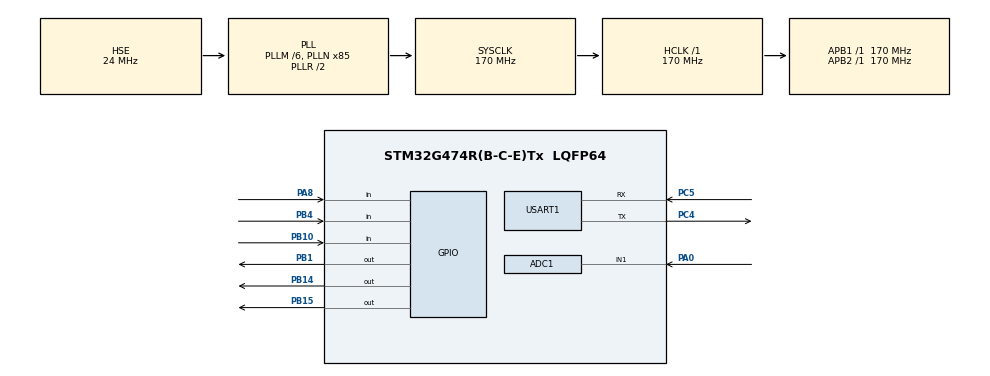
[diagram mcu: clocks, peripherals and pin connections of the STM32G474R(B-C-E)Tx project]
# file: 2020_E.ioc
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ADC1.Channel-0\#ChannelRegularConversion=ADC_CHANNEL_1
ADC1.ContinuousConvMode=DISABLE
ADC1.ExternalTrigConv=ADC_EXTERNALTRIG_T3_TRGO
ADC1.NbrOfConversionFlag=1
ADC1.OffsetNumber-0\#ChannelRegularConversion=ADC_OFFSET_NONE
ADC1.Rank-0\#ChannelRegularConversion=1
ADC1.SamplingTime-0\#ChannelRegularConversion=ADC_SAMPLETIME_2CYCLES_5
ADC1.master=1
Dma.ADC1.0.Direction=DMA_PERIPH_TO_MEMORY
Dma.ADC1.0.EventEnable=DISABLE
Dma.ADC1.0.Instance=DMA1_Channel1
Dma.ADC1.0.MemDataAlignment=DMA_MDATAALIGN_HALFWORD
Dma.ADC1.0.MemInc=DMA_MINC_ENABLE
Dma.ADC1.0.Mode=DMA_NORMAL
Dma.ADC1.0.PeriphDataAlignment=DMA_PDATAALIGN_HALFWORD
Dma.ADC1.0.PeriphInc=DMA_PINC_DISABLE
Dma.ADC1.0.Polarity=HAL_DMAMUX_REQ_GEN_RISING
Dma.ADC1.0.Priority=DMA_PRIORITY_LOW
Dma.ADC1.0.RequestNumber=1
Dma.ADC1.0.SignalID=NONE
Dma.ADC1.0.SyncEnable=DISABLE
Dma.ADC1.0.SyncPolarity=HAL_DMAMUX_SYNC_NO_EVENT
Dma.ADC1.0.SyncRequestNumber=1
Dma.ADC1.0.SyncSignalID=NONE
Dma.Request0=ADC1
Mcu.Family=STM32G4
Mcu.Name=STM32G474R(B-C-E)Tx
Mcu.Package=LQFP64
NVIC.DMA1_Channel1_IRQn=true\:0\:0\:false\:false\:true\:false\:true
NVIC.PriorityGroup=NVIC_PRIORITYGROUP_4
NVIC.TIM3_IRQn=true\:0\:0\:false\:false\:true\:true\:true
NVIC.USART1_IRQn=true\:0\:0\:false\:false\:true\:true\:true
PA0.Mode=IN1-Single-Ended
PA0.Signal=ADC1_IN1
PA13.Mode=Serial_Wire
PA13.Signal=SYS_JTMS-SWDIO
PA14.Mode=Serial_Wire
PA14.Signal=SYS_JTCK-SWCLK
PA8.GPIO_PuPd=GPIO_PULLDOWN
PA8.Signal=GPIO_Input
PB1.GPIO_ModeDefaultOutputPP=GPIO_MODE_OUTPUT_PP
PB1.GPIO_PuPd=GPIO_NOPULL
PB1.PinState=GPIO_PIN_SET
PB1.Signal=GPIO_Output
PB10.GPIO_PuPd=GPIO_PULLDOWN
PB10.Signal=GPIO_Input
PB14.PinState=GPIO_PIN_SET
PB14.Signal=GPIO_Output
PB15.PinState=GPIO_PIN_SET
PB15.Signal=GPIO_Output
PB4.GPIO_PuPd=GPIO_PULLDOWN
PB4.Signal=GPIO_Input
PC14-OSC32_IN.Mode=LSE-External-Oscillator
PC14-OSC32_IN.Signal=RCC_OSC32_IN
PC15-OSC32_OUT.Mode=LSE-External-Oscillator
PC15-OSC32_OUT.Signal=RCC_OSC32_OUT
PC4.Mode=Asynchronous
PC4.Signal=USART1_TX
PC5.Mode=Asynchronous
PC5.Signal=USART1_RX
PF0-OSC_IN.Mode=HSE-External-Oscillator
PF0-OSC_IN.Signal=RCC_OSC_IN
PF1-OSC_OUT.Mode=HSE-External-Oscillator
PF1-OSC_OUT.Signal=RCC_OSC_OUT
ProjectManager.HeapSize=0x200
ProjectManager.StackSize=0x400
ProjectManager.TargetToolchain=MDK-ARM V5.32
RCC.ADC12Freq_Value=170000000
RCC.ADC345Freq_Value=170000000
RCC.AHBFreq_Value=170000000
RCC.APB1Freq_Value=170000000
RCC.APB1TimFreq_Value=170000000
RCC.APB2Freq_Value=170000000
RCC.APB2TimFreq_Value=170000000
RCC.CortexFreq_Value=170000000
RCC.EXTERNAL_CLOCK_VALUE=12288000
RCC.HCLKFreq_Value=170000000
RCC.HSE_VALUE=24000000
RCC.HSI48_VALUE=48000000
RCC.HSI_VALUE=16000000
RCC.PLLM=RCC_PLLM_DIV6
RCC.PLLN=85
RCC.PLLSourceVirtual=RCC_PLLSOURCE_HSE
RCC.SYSCLKFreq_VALUE=170000000
RCC.SYSCLKSource=RCC_SYSCLKSOURCE_PLLCLK
RCC.USBFreq_Value=170000000
RCC.VCOOutputFreq_Value=340000000
TIM3.AutoReloadPreload=TIM_AUTORELOAD_PRELOAD_ENABLE
TIM3.PeriodNoDither=40
TIM3.Prescaler=170
TIM3.TIM_MasterOutputTrigger=TIM_TRGO_UPDATE
USART1.VirtualMode-Asynchronous=VM_ASYNC
VP_SYS_VS_DBSignals.Mode=DisableDeadBatterySignals
VP_TIM3_VS_ClockSourceINT.Mode=Internal
board=custom

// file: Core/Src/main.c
/* USER CODE BEGIN Header */
/**
  ******************************************************************************
  * @file           : main.c
  * @brief          : Main program body
  ******************************************************************************
  * @attention
  *
  * Copyright (c) 2022 STMicroelectronics.
  * All rights reserved.
  *
  * This software is licensed under terms that can be found in the LICENSE file
  * in the root directory of this software component.
  * If no LICENSE file comes with this software, it is provided AS-IS.
  *
  ******************************************************************************
  */
/* USER CODE END Header */
#include "main.h"
#include "adc.h"
#include "dma.h"
#include "tim.h"
#include "usart.h"
#include "gpio.h"

/* USER CODE BEGIN Includes */
#include "arm_math.h"	// 包含一个arm_math.h
#include "arm_const_structs.h"

#include "stdio.h"
#define MAX_RECV_LEN 128
uint8_t rx1_buff[MAX_RECV_LEN]={0};
uint8_t *pBuf=rx1_buff;
uint8_t line_flag=0;

#define FFT_LENGTH 1024

__IO uint8_t AdcConvEnd = 0;
uint16_t adcBuff[FFT_LENGTH];

float fft_inputbuf[FFT_LENGTH * 2];
float fft_outputbuf[FFT_LENGTH];

#define set0 HAL_GPIO_WritePin(GPIOB, GPIO_PIN_1,0)
#define set1 HAL_GPIO_WritePin(GPIOB, GPIO_PIN_15,0)
#define set2 HAL_GPIO_WritePin(GPIOB, GPIO_PIN_14,0)

#define reset0 HAL_GPIO_WritePin(GPIOB, GPIO_PIN_1,1)
#define reset1 HAL_GPIO_WritePin(GPIOB, GPIO_PIN_15,1)
#define reset2 HAL_GPIO_WritePin(GPIOB, GPIO_PIN_14,1)

#define d0 HAL_GPIO_ReadPin(GPIOA, GPIO_PIN_8)
#define d1 HAL_GPIO_ReadPin(GPIOB, GPIO_PIN_10)
#define d2 HAL_GPIO_ReadPin(GPIOB, GPIO_PIN_4)
/* USER CODE END Includes */

/* USER CODE BEGIN PTD */
float data=0,thd,u1,u2,u3,u4,u5,u6,u7,u8,u9,u10,u11;
int j,check_enable=0,control_enable=0;
/* USER CODE END PTD */

/* USER CODE BEGIN PM */
void modulus_value(void);
void control(void);
/* USER CODE END PM */

void SystemClock_Config(void);

int main(void)
{

  /* MCU Configuration--------------------------------------------------------*/

  /* Reset of all peripherals, Initializes the Flash interface and the Systick. */
  HAL_Init();

  /* Configure the system clock */
  SystemClock_Config();

  /* Initialize all configured peripherals */
  MX_GPIO_Init();
  MX_DMA_Init();
  MX_ADC1_Init();
  MX_TIM3_Init();
  MX_USART1_UART_Init();
  /* USER CODE BEGIN 2 */
	HAL_UART_Receive_IT(&huart1,pBuf,1);
	HAL_TIM_Base_Start(&htim3);
  /* USER CODE END 2 */

  /* Infinite loop */
  /* USER CODE BEGIN WHILE */
				set0;
				set1;
				set2;
  while (1)
  {

		if(line_flag){
			//printf("%s",rx1_buff);

			line_flag=0;
			if(rx1_buff[0]=='s'){
			//printf("t0.txt=\"%d\"\xff\xff\xff",j++); //一次性发完命令和结束符
				check_enable=1;
			}
			if(rx1_buff[0]=='1'){
				reset0;
				reset1;
				reset2;
			}
			if(rx1_buff[0]=='2'){
				set0;
				reset1;
				reset2;
			}
			if(rx1_buff[0]=='3'){
				reset0;
				set1;
				reset2;
			}
			if(rx1_buff[0]=='4'){
				set0;
				set1;
				reset2;
			}
			if(rx1_buff[0]=='5'){
				set0;
				set1;
				reset2;
			}
			if(rx1_buff[0]=='0'){
				set0;
				set1;
				set2;
			}
		}

		control();

		if(check_enable){
		for (int i = 0; i < FFT_LENGTH; i++)
		{
				adcBuff[i]=0;
		}
		HAL_ADC_Start_DMA(&hadc1, (uint32_t *)adcBuff, FFT_LENGTH);

		HAL_Delay(100);
		while (!AdcConvEnd)       //等待转换完毕
			;

		for (int i = 0; i < FFT_LENGTH; i++)
		{
				fft_inputbuf[i * 2] = adcBuff[i] * 3.3 / 4096;//实部赋值，* 3.3 / 4096是为了将ADC采集到的值转换成实际电压
				fft_inputbuf[i * 2 + 1] = 0;//虚部赋值，固定为0.
		}

		arm_cfft_f32(&arm_cfft_sR_f32_len1024, fft_inputbuf, 0, 1);
		arm_cmplx_mag_f32(fft_inputbuf, fft_outputbuf, FFT_LENGTH);
		/*fft_outputbuf[0] /= 1;

		for (int i = 1; i < FFT_LENGTH; i++)//输出各次谐波幅值
		{
				fft_outputbuf[i] /= 1;
		}*/
		//printf("FFT Result:\r\n");

		/*for (int i = 0; i < FFT_LENGTH; i++)//输出各次谐波幅值
		{
			//printf("%d:\t%.2f\r\n", i, fft_outputbuf[i]);
		}*/
		HAL_ADC_Stop_DMA(&hadc1);
		 check_enable=0;
		//printf("page main\xff\xff\xff");
		modulus_value();

		}

    /* USER CODE END WHILE */

  }
}

void SystemClock_Config(void)
{
  RCC_OscInitTypeDef RCC_OscInitStruct = {0};
  RCC_ClkInitTypeDef RCC_ClkInitStruct = {0};

  /** Configure the main internal regulator output voltage
  */
  HAL_PWREx_ControlVoltageScaling(PWR_REGULATOR_VOLTAGE_SCALE1_BOOST);
  /** Initializes the RCC Oscillators according to the specified parameters
  * in the RCC_OscInitTypeDef structure.
  */
  RCC_OscInitStruct.OscillatorType = RCC_OSCILLATORTYPE_HSE;
  RCC_OscInitStruct.HSEState = RCC_HSE_ON;
  RCC_OscInitStruct.PLL.PLLState = RCC_PLL_ON;
  RCC_OscInitStruct.PLL.PLLSource = RCC_PLLSOURCE_HSE;
  RCC_OscInitStruct.PLL.PLLM = RCC_PLLM_DIV6;
  RCC_OscInitStruct.PLL.PLLN = 85;
  RCC_OscInitStruct.PLL.PLLP = RCC_PLLP_DIV2;
  RCC_OscInitStruct.PLL.PLLQ = RCC_PLLQ_DIV2;
  RCC_OscInitStruct.PLL.PLLR = RCC_PLLR_DIV2;
  if (HAL_RCC_OscConfig(&RCC_OscInitStruct) != HAL_OK)
  {
    Error_Handler();
  }
  /** Initializes the CPU, AHB and APB buses clocks
  */
  RCC_ClkInitStruct.ClockType = RCC_CLOCKTYPE_HCLK|RCC_CLOCKTYPE_SYSCLK
                              |RCC_CLOCKTYPE_PCLK1|RCC_CLOCKTYPE_PCLK2;
  RCC_ClkInitStruct.SYSCLKSource = RCC_SYSCLKSOURCE_PLLCLK;
  RCC_ClkInitStruct.AHBCLKDivider = RCC_SYSCLK_DIV1;
  RCC_ClkInitStruct.APB1CLKDivider = RCC_HCLK_DIV1;
  RCC_ClkInitStruct.APB2CLKDivider = RCC_HCLK_DIV1;

  if (HAL_RCC_ClockConfig(&RCC_ClkInitStruct, FLASH_LATENCY_4) != HAL_OK)
  {
    Error_Handler();
  }
}

/* USER CODE BEGIN 4 */
void HAL_UART_RxCpltCallback(UART_HandleTypeDef *UartHandle){
if(UartHandle->Instance==USART1){
++pBuf;
	if(pBuf==rx1_buff+MAX_RECV_LEN)
		pBuf=rx1_buff;
	else if(*(pBuf-1)==0x0a){
	line_flag=1;
		*pBuf='\0';
		pBuf=rx1_buff;
	}
	__HAL_UNLOCK(UartHandle);
	HAL_UART_Receive_IT(UartHandle,pBuf,1);

}
}

void modulus_value(void){
int max=0,s1,s2,s3,s4,s5,s6,s7,s8,s9,s10,s11;
	for(j=1;j<FFT_LENGTH/2;j++){
		if(fft_outputbuf[j]>max){
			max=fft_outputbuf[j];
			s1=j;
		}
	}
	max=0;
	for(j=s1*2-5;j<s1*2+5;j++){
		if(fft_outputbuf[j]>max){
			max=fft_outputbuf[j];
			s2=j;
		}
	}

	max=0;
		for(j=s1*3-5;j<s1*3+5;j++){
		if(fft_outputbuf[j]>max){
			max=fft_outputbuf[j];
			s3=j;
		}
	}
	max=0;
		for(j=s1*4-5;j<s1*4+5;j++){
		if(fft_outputbuf[j]>max){
			max=fft_outputbuf[j];
			s4=j;
		}
	}
	max=0;
		for(j=s1*5-5;j<s1*5+5;j++){
		if(fft_outputbuf[j]>max){
			max=fft_outputbuf[j];
			s5=j;
		}
	}
	max=0;
		for(j=s1*6-5;j<s1*6+5;j++){
		if(fft_outputbuf[j]>max){
			max=fft_outputbuf[j];
			s6=j;
		}
	}
	max=0;
		for(j=s1*7-5;j<s1*7+5;j++){
		if(fft_outputbuf[j]>max){
			max=fft_outputbuf[j];
			s7=j;
		}
	}
	max=0;
		for(j=s1*8-5;j<s1*8+5;j++){
		if(fft_outputbuf[j]>max){
			max=fft_outputbuf[j];
			s8=j;
		}
	}
	max=0;
		for(j=s1*9-5;j<s1*9+5;j++){
		if(fft_outputbuf[j]>max){
			max=fft_outputbuf[j];
			s9=j;
		}
	}
	max=0;
		for(j=s1*10-5;j<s1*10+5;j++){
		if(fft_outputbuf[j]>max){
			max=fft_outputbuf[j];
			s10=j;
		}
	}
	max=0;
		for(j=s1*11-5;j<s1*11+5;j++){
		if(fft_outputbuf[j]>max){
			max=fft_outputbuf[j];
			s11=j;
		}
	}
	u1=fft_outputbuf[s1];
	u2=fft_outputbuf[s2];
	u3=fft_outputbuf[s3];
	u4=fft_outputbuf[s4];
	u5=fft_outputbuf[s5];
	u6=fft_outputbuf[s6];
	u7=fft_outputbuf[s7];
	u8=fft_outputbuf[s8];
	u9=fft_outputbuf[s9];
	u10=fft_outputbuf[s10];
	u11=fft_outputbuf[s11];
//printf("u1=%f\r\nu2=%f\r\nu3=%f\r\nu4=%f\r\nu5=%f\r\nu6=%f\r\nu7=%f\r\nu8=%f\r\nu9=%f\r\nu10=%f\r\nu11=%f\r\n",u1,u2,u3,u4,u5,u6,u7,u8,u9,u10,u11);
thd=sqrt(u2*u2+u3*u3+u4*u4+u5*u5+u6*u6+u7*u7+u8*u8+u9*u9+u10*u10+u11*u11)/u1*100;
	//printf("THD=%.2f%%\r\n",thd);
	//printf("addt 2,0,1024\xff\xff\xff");
	fft_outputbuf[0]=0;
	for(j=0;j<FFT_LENGTH;j++){
		printf("add 2,0,%d\xff\xff\xff",(int)(fft_outputbuf[j]/u1*255));
	}
	printf("t1.txt=\"%.2f%%\"\xff\xff\xff",thd); //一次性发完命令和结束符
}

void control(void){
if(d0==0&&d1==0&&d2==0)
	control_enable=1;
else if(control_enable==1&&d0==1&&d1==0&&d2==0){
	check_enable=1;
	control_enable=0;
}
else if(control_enable==0&&d0==0&&d1==1&&d2==0){
	set0;
	set1;
	set2;
	control_enable=0;
}
else if(control_enable==1&&d0==1&&d1==1&&d2==0){
	reset0;
	reset1;
	reset2;
	control_enable=0;
}
else if(control_enable==1&&d0==0&&d1==0&&d2==1){
	set0;
	reset1;
	reset2;
	control_enable=0;
}
else if(control_enable==1&&d0==1&&d1==0&&d2==1){
	reset0;
	set1;
	reset2;
	control_enable=0;
}
else if(control_enable==1&&d0==0&&d1==1&&d2==1){
	set0;
	set1;
	reset2;
	control_enable=0;
}
else if(control_enable==1&&d0==1&&d1==1&&d2==1){
	reset0;
	reset1;
	set2;
	control_enable=0;
}

}
/* USER CODE END 4 */

void Error_Handler(void)
{
  __disable_irq();
  while (1)
  {
  }
}
